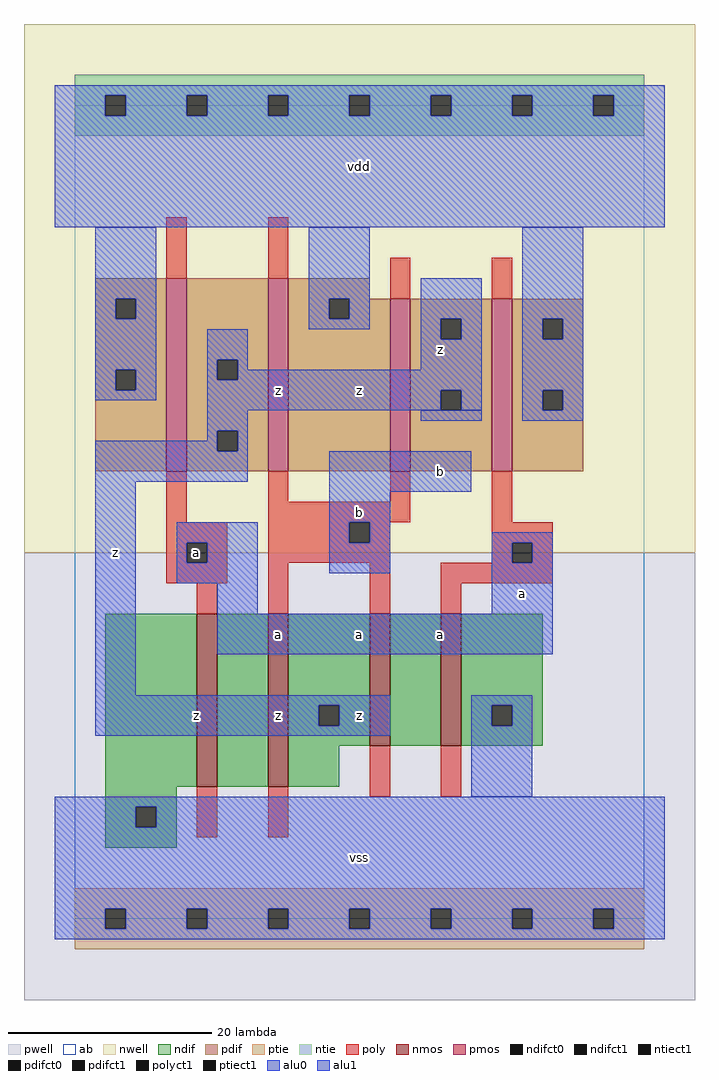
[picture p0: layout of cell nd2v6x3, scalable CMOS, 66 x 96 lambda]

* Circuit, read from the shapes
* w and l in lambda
.subckt nd2v6x3 a b vdd vss z
M1 n1 a vss vss nfet w=17 l=2
M2 z b n1 vss nfet w=17 l=2
M3 n2 b z vss nfet w=13 l=2
M4 vss a n2 vss nfet w=13 l=2
M5 z a vdd vdd pfet w=19 l=2
M6 vdd b z vdd pfet w=19 l=2
M7 z b vdd vdd pfet w=17 l=2
M8 vdd a z vdd pfet w=17 l=2
.ends

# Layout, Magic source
magic
tech scmos
<< ab >>
rect 0 0 56 80
<< nwell >>
rect -5 36 61 88
<< pwell >>
rect -5 -8 61 36
<< poly >>
rect 9 63 11 69
rect 19 63 21 69
rect 31 61 33 65
rect 41 61 43 65
rect 9 39 11 44
rect 19 41 21 44
rect 31 41 33 44
rect 19 39 33 41
rect 41 39 43 44
rect 9 37 15 39
rect 9 35 11 37
rect 13 35 15 37
rect 9 33 15 35
rect 19 37 27 39
rect 29 37 31 39
rect 19 35 31 37
rect 41 37 47 39
rect 41 35 43 37
rect 45 35 47 37
rect 12 30 14 33
rect 19 30 21 35
rect 29 30 31 35
rect 36 33 47 35
rect 36 30 38 33
rect 12 8 14 13
rect 19 8 21 13
rect 29 12 31 17
rect 36 12 38 17
<< ndif >>
rect 3 13 12 30
rect 14 13 19 30
rect 21 21 29 30
rect 21 19 24 21
rect 26 19 29 21
rect 21 17 29 19
rect 31 17 36 30
rect 38 21 46 30
rect 38 19 41 21
rect 43 19 46 21
rect 38 17 46 19
rect 21 13 26 17
rect 3 11 10 13
rect 3 9 6 11
rect 8 9 10 11
rect 3 7 10 9
<< pdif >>
rect 2 61 9 63
rect 2 59 4 61
rect 6 59 9 61
rect 2 54 9 59
rect 2 52 4 54
rect 6 52 9 54
rect 2 44 9 52
rect 11 55 19 63
rect 11 53 14 55
rect 16 53 19 55
rect 11 48 19 53
rect 11 46 14 48
rect 16 46 19 48
rect 11 44 19 46
rect 21 61 29 63
rect 21 59 25 61
rect 27 59 31 61
rect 21 44 31 59
rect 33 59 41 61
rect 33 57 36 59
rect 38 57 41 59
rect 33 52 41 57
rect 33 50 36 52
rect 38 50 41 52
rect 33 44 41 50
rect 43 59 50 61
rect 43 57 46 59
rect 48 57 50 59
rect 43 52 50 57
rect 43 50 46 52
rect 48 50 50 52
rect 43 44 50 50
<< alu1 >>
rect -2 81 58 82
rect -2 79 3 81
rect 5 79 11 81
rect 13 79 19 81
rect 21 79 27 81
rect 29 79 35 81
rect 37 79 43 81
rect 45 79 51 81
rect 53 79 58 81
rect -2 68 58 79
rect 34 59 40 63
rect 13 55 17 58
rect 13 53 14 55
rect 16 54 17 55
rect 34 57 36 59
rect 38 57 40 59
rect 34 54 40 57
rect 16 53 40 54
rect 13 52 40 53
rect 13 50 36 52
rect 38 50 40 52
rect 13 48 17 50
rect 13 47 14 48
rect 2 46 14 47
rect 16 46 17 48
rect 2 43 17 46
rect 2 22 6 43
rect 25 42 39 46
rect 25 39 31 42
rect 10 37 18 39
rect 10 35 11 37
rect 13 35 18 37
rect 10 33 18 35
rect 25 37 27 39
rect 29 37 31 39
rect 25 34 31 37
rect 41 37 47 38
rect 41 35 43 37
rect 45 35 47 37
rect 14 30 18 33
rect 41 30 47 35
rect 14 26 47 30
rect 2 21 31 22
rect 2 19 24 21
rect 26 19 31 21
rect 2 18 31 19
rect -2 11 58 12
rect -2 9 6 11
rect 8 9 58 11
rect -2 1 58 9
rect -2 -1 3 1
rect 5 -1 11 1
rect 13 -1 19 1
rect 21 -1 27 1
rect 29 -1 35 1
rect 37 -1 43 1
rect 45 -1 51 1
rect 53 -1 58 1
rect -2 -2 58 -1
<< ptie >>
rect 0 1 56 3
rect 0 -1 3 1
rect 5 -1 11 1
rect 13 -1 19 1
rect 21 -1 27 1
rect 29 -1 35 1
rect 37 -1 43 1
rect 45 -1 51 1
rect 53 -1 56 1
rect 0 -3 56 -1
<< ntie >>
rect 0 81 56 83
rect 0 79 3 81
rect 5 79 11 81
rect 13 79 19 81
rect 21 79 27 81
rect 29 79 35 81
rect 37 79 43 81
rect 45 79 51 81
rect 53 79 56 81
rect 0 77 56 79
<< nmos >>
rect 12 13 14 30
rect 19 13 21 30
rect 29 17 31 30
rect 36 17 38 30
<< pmos >>
rect 9 44 11 63
rect 19 44 21 63
rect 31 44 33 61
rect 41 44 43 61
<< polyct1 >>
rect 11 35 13 37
rect 27 37 29 39
rect 43 35 45 37
<< ndifct0 >>
rect 41 19 43 21
<< ndifct1 >>
rect 24 19 26 21
rect 6 9 8 11
<< ntiect1 >>
rect 3 79 5 81
rect 11 79 13 81
rect 19 79 21 81
rect 27 79 29 81
rect 35 79 37 81
rect 43 79 45 81
rect 51 79 53 81
<< ptiect1 >>
rect 3 -1 5 1
rect 11 -1 13 1
rect 19 -1 21 1
rect 27 -1 29 1
rect 35 -1 37 1
rect 43 -1 45 1
rect 51 -1 53 1
<< pdifct0 >>
rect 4 59 6 61
rect 4 52 6 54
rect 25 59 27 61
rect 46 57 48 59
rect 46 50 48 52
<< pdifct1 >>
rect 14 53 16 55
rect 14 46 16 48
rect 36 57 38 59
rect 36 50 38 52
<< alu0 >>
rect 2 61 8 68
rect 2 59 4 61
rect 6 59 8 61
rect 2 54 8 59
rect 23 61 29 68
rect 23 59 25 61
rect 27 59 29 61
rect 23 58 29 59
rect 2 52 4 54
rect 6 52 8 54
rect 2 51 8 52
rect 34 49 40 50
rect 44 59 50 68
rect 44 57 46 59
rect 48 57 50 59
rect 44 52 50 57
rect 44 50 46 52
rect 48 50 50 52
rect 44 49 50 50
rect 39 21 45 22
rect 39 19 41 21
rect 43 19 45 21
rect 39 12 45 19
<< labels >>
rlabel alu1 4 36 4 36 6 z
rlabel alu1 20 20 20 20 6 z
rlabel alu1 12 20 12 20 6 z
rlabel polyct1 12 36 12 36 6 a
rlabel alu1 20 28 20 28 6 a
rlabel alu1 20 52 20 52 6 z
rlabel alu1 28 6 28 6 6 vss
rlabel alu1 28 20 28 20 6 z
rlabel alu1 28 28 28 28 6 a
rlabel alu1 36 28 36 28 6 a
rlabel alu1 36 44 36 44 6 b
rlabel alu1 28 40 28 40 6 b
rlabel alu1 28 52 28 52 6 z
rlabel alu1 36 56 36 56 6 z
rlabel alu1 28 74 28 74 6 vdd
rlabel alu1 44 32 44 32 6 a
<< end >>
